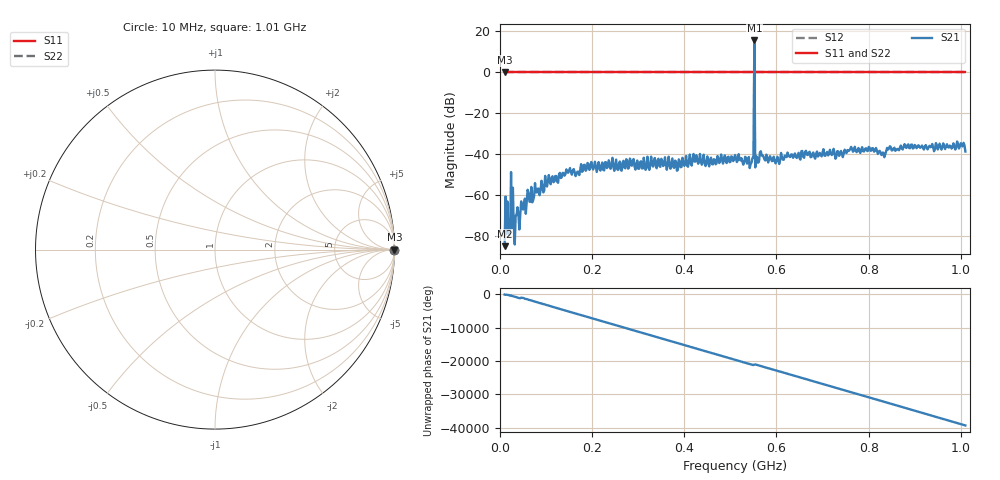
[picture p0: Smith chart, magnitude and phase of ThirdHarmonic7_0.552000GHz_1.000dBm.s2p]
! 8/17/2025 4:45:32 PM
! C:\ANRITSUVNA\TEMP\TEMP.S2P
! CHANNEL.1
! TR.MEASUREMENT
! RAW.DATA
! RF.CORRECTION.OFF
! AVERAGING.OFF
! IF.BANDWIDTH: 5KHZ
! SWEEPTYPE:  FREQ.SWEEP(Linear)
! Reference Plane Port Info
! PORT:  PORT1  PORT2
! DISTANCE:  0  m  0  m
! TIME:  0  s  0  s
! PHASE.OFFSET:  0  deg.  0  deg.
! LOSS:  0  dB  0  dB
! REF.LOSS:  0  dB  0  dB
! REF.FREQ:  0  Hz  0  Hz
! Power Info
! POWER:  -20  dBm  -20  dBm
! EFF.POWER:  -20  dBm  -20  dBm
! SOURCE.ATTEN:  0  dB  0  dB
! TEST.ATTEN:  0  dB  0  dB
# GHZ S RI R 50.0
! FREQ.GHZ  S11RE  S11IM  S21RE  S21IM  S12RE  S12IM  S22RE  S22IM
!; PortSelection: Port_12
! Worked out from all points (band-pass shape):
!   501 points, 10 MHz to 1.01 GHz, reference 50 ohm
!   highest |S21| = 15.50 dB at 552 MHz (marker M1); lowest = -85.0 dB at 10 MHz (marker M2)
!   |S21| within 3 dB of the highest: 551.8951 MHz to 552.0968 MHz (201.7 kHz wide, 0.0365 % of centre)
!   lowest |S11| = 0.0 dB at 10 MHz (marker M3)
!   |S11| at or under -10 dB: nowhere
!   |S22| runs from 0.0 to 0.0 dB; largest |S21 - S12| = 6.9
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0.01  1 0  4.97e-05 -2.68e-05  1 0  1 0
0.014  1 0  3.95e-05 -0.000105  1 0  1 0
0.018  1 0  -0.00014 -3.88e-05  1 0  1 0
0.02  1 0  -8.19e-05 6.28e-05  1 0  1 0
0.022  1 0  0.000131 -5.38e-05  1 0  1 0
0.024  1 0  0.000878 0.00354  1 0  1 0
0.034  1 0  0.000308 -6.29e-05  1 0  1 0
0.064  1 0  -0.00048 0.00049  1 0  1 0
0.102  1 0  0.0015 0.000596  1 0  1 0
0.178  1 0  -0.00358 -0.0009  1 0  1 0
0.344  1 0  0.00761 -0.00139  1 0  1 0
0.51  1 0  -0.00885 -0.00357  1 0  1 0
0.546  1 0  -0.0057 -0.00249  1 0  1 0
0.548  1 0  -0.00453 0.00676  1 0  1 0
0.552  1 0  -5.812 -1.317  1 0  1 0
0.556  1 0  -0.00894 0.000603  1 0  1 0
0.558  1 0  0.00183 0.00799  1 0  1 0
0.568  1 0  0.00777 0.00494  1 0  1 0
0.602  1 0  -0.00418 0.00753  1 0  1 0
0.678  1 0  0.00758 -0.00691  1 0  1 0
0.844  1 0  -0.00986 0.00925  1 0  1 0
1.01  1 0  0.00333 -0.011  1 0  1 0
